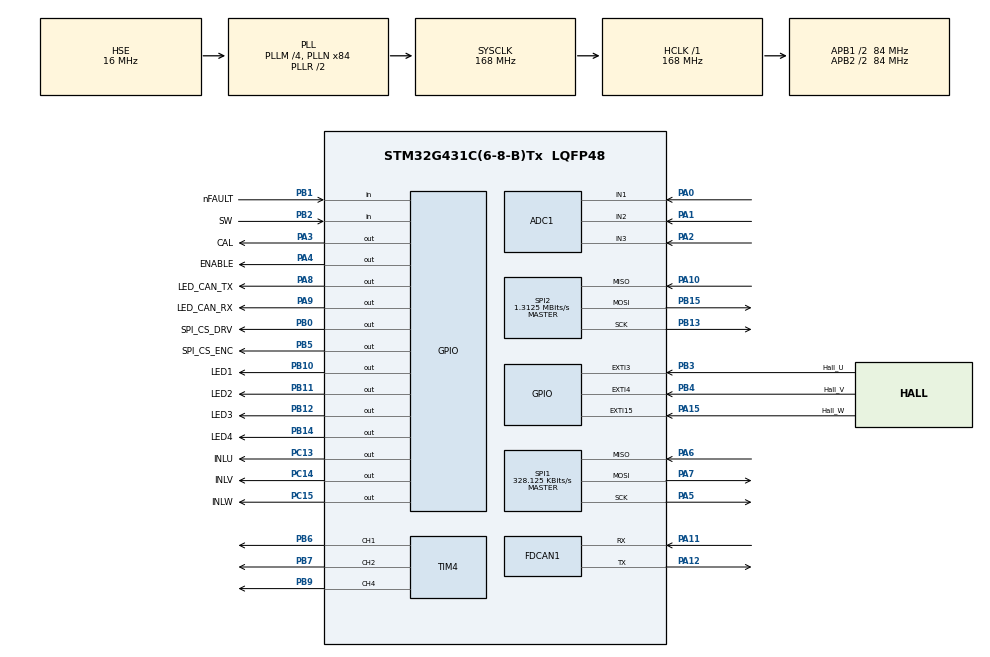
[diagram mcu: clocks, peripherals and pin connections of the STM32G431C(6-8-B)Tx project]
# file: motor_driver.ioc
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ADC1.ClockPrescaler=ADC_CLOCK_SYNC_PCLK_DIV4
ADC1.ContinuousConvMode=DISABLE
ADC1.DMAContinuousRequests=DISABLE
ADC1.DiscontinuousConvMode=DISABLE
ADC1.EOCSelection=ADC_EOC_SINGLE_CONV
ADC1.EnableInjectedConversion=ENABLE
ADC1.EnableRegularConversion=DISABLE
ADC1.ExternalTrigInjecConv=ADC_EXTERNALTRIGINJEC_T4_TRGO
ADC1.ExternalTrigInjecConvEdge=ADC_EXTERNALTRIGINJECCONV_EDGE_FALLING
ADC1.InjNumberOfConversion=3
ADC1.InjectedChannel-11\#ChannelInjectedConversion=ADC_CHANNEL_1
ADC1.InjectedChannel-12\#ChannelInjectedConversion=ADC_CHANNEL_2
ADC1.InjectedChannel-13\#ChannelInjectedConversion=ADC_CHANNEL_3
ADC1.InjectedConvMode=None
ADC1.InjectedOffsetNumber-11\#ChannelInjectedConversion=ADC_OFFSET_NONE
ADC1.InjectedOffsetNumber-12\#ChannelInjectedConversion=ADC_OFFSET_NONE
ADC1.InjectedOffsetNumber-13\#ChannelInjectedConversion=ADC_OFFSET_NONE
ADC1.InjectedRank-11\#ChannelInjectedConversion=1
ADC1.InjectedRank-12\#ChannelInjectedConversion=2
ADC1.InjectedRank-13\#ChannelInjectedConversion=3
ADC1.InjectedSamplingTime-11\#ChannelInjectedConversion=ADC_SAMPLETIME_6CYCLES_5
ADC1.InjectedSamplingTime-12\#ChannelInjectedConversion=ADC_SAMPLETIME_6CYCLES_5
ADC1.InjectedSamplingTime-13\#ChannelInjectedConversion=ADC_SAMPLETIME_6CYCLES_5
ADC1.Overrun=ADC_OVR_DATA_PRESERVED
ADC1.OversamplingMode=DISABLE
ADC1.Rank1_Channel=ADC_CHANNEL_1
ADC1.Rank2_Channel=ADC_CHANNEL_2
ADC1.Rank3_Channel=ADC_CHANNEL_3
ADC1.master=1
FDCAN1.CalculateBaudRateNominal=500000
FDCAN1.CalculateTimeBitNominal=2000
FDCAN1.CalculateTimeQuantumNominal=142.85714285714286
FDCAN1.DataPrescaler=12
FDCAN1.DataTimeSeg1=11
FDCAN1.DataTimeSeg2=2
FDCAN1.FrameFormat=FDCAN_FRAME_CLASSIC
FDCAN1.Mode=FDCAN_MODE_NORMAL
FDCAN1.NominalPrescaler=12
FDCAN1.NominalTimeSeg1=11
FDCAN1.StdFiltersNbr=1
FREERTOS.Tasks01=defaultTask,0,128,StartDefaultTask,Default,NULL,Dynamic,NULL,NULL;LEDTask,0,128,StartLEDTask,Default,NULL,Dynamic,NULL,NULL
Mcu.Family=STM32G4
Mcu.Name=STM32G431C(6-8-B)Tx
Mcu.Package=LQFP48
NVIC.ADC1_2_IRQn=true\:5\:0\:false\:false\:true\:true\:true\:true\:true
NVIC.EXTI15_10_IRQn=true\:5\:0\:false\:false\:true\:true\:true\:true\:true
NVIC.EXTI3_IRQn=true\:5\:0\:false\:false\:true\:true\:true\:true\:true
NVIC.EXTI4_IRQn=true\:5\:0\:false\:false\:true\:true\:true\:true\:true
NVIC.FDCAN1_IT0_IRQn=true\:5\:0\:false\:false\:true\:true\:true\:true\:true
NVIC.PriorityGroup=NVIC_PRIORITYGROUP_4
NVIC.SPI2_IRQn=true\:5\:0\:true\:false\:true\:false\:true\:true\:true
NVIC.TIM1_UP_TIM16_IRQn=true\:5\:0\:false\:false\:true\:true\:true\:true\:true
NVIC.TIM2_IRQn=true\:15\:0\:false\:false\:true\:false\:false\:true\:true
NVIC.TIM3_IRQn=true\:5\:0\:false\:false\:true\:true\:true\:true\:true
NVIC.TIM4_IRQn=true\:5\:0\:false\:false\:true\:true\:true\:true\:true
NVIC.TimeBase=TIM2_IRQn
NVIC.TimeBaseIP=TIM2
PA0.GPIO_PuPd=GPIO_NOPULL
PA0.Mode=IN1-Single-Ended
PA0.Signal=ADC1_IN1
PA1.Mode=IN2-Single-Ended
PA1.Signal=ADC1_IN2
PA10.Mode=Full_Duplex_Master
PA10.Signal=SPI2_MISO
PA11.Mode=FDCAN_Activate
PA11.Signal=FDCAN1_RX
PA12.Mode=FDCAN_Activate
PA12.Signal=FDCAN1_TX
PA13.Mode=Serial_Wire
PA13.Signal=SYS_JTMS-SWDIO
PA14.Mode=Serial_Wire
PA14.Signal=SYS_JTCK-SWCLK
PA15.GPIO_Label=Hall_W
PA15.GPIO_ModeDefaultEXTI=GPIO_MODE_IT_RISING_FALLING
PA15.Signal=GPXTI15
PA2.Mode=IN3-Single-Ended
PA2.Signal=ADC1_IN3
PA3.GPIO_Label=CAL
PA3.Signal=GPIO_Output
PA4.GPIO_Label=ENABLE
PA4.Signal=GPIO_Output
PA5.Mode=Full_Duplex_Master
PA5.Signal=SPI1_SCK
PA6.GPIO_PuPd=GPIO_PULLUP
PA6.Mode=Full_Duplex_Master
PA6.Signal=SPI1_MISO
PA7.Mode=Full_Duplex_Master
PA7.Signal=SPI1_MOSI
PA8.GPIO_Label=LED_CAN_TX
PA8.Signal=GPIO_Output
PA9.GPIO_Label=LED_CAN_RX
PA9.Signal=GPIO_Output
PB0.GPIO_Label=SPI_CS_DRV
PB0.Signal=GPIO_Output
PB1.GPIO_Label=nFAULT
PB1.GPIO_PuPd=GPIO_PULLUP
PB1.Signal=GPIO_Input
PB10.GPIO_Label=LED1
PB10.Signal=GPIO_Output
PB11.GPIO_Label=LED2
PB11.Signal=GPIO_Output
PB12.GPIO_Label=LED3
PB12.Signal=GPIO_Output
PB13.Mode=Full_Duplex_Master
PB13.Signal=SPI2_SCK
PB14.GPIO_Label=LED4
PB14.Signal=GPIO_Output
PB15.Mode=Full_Duplex_Master
PB15.Signal=SPI2_MOSI
PB2.GPIO_Label=SW
PB2.Signal=GPIO_Input
PB3.GPIO_Label=Hall_U
PB3.GPIO_ModeDefaultEXTI=GPIO_MODE_IT_RISING_FALLING
PB3.Signal=GPXTI3
PB4.GPIO_Label=Hall_V
PB4.GPIO_ModeDefaultEXTI=GPIO_MODE_IT_RISING_FALLING
PB4.Signal=GPXTI4
PB5.GPIO_Label=SPI_CS_ENC
PB5.GPIO_PuPd=GPIO_PULLUP
PB5.Signal=GPIO_Output
PB6.Signal=S_TIM4_CH1
PB7.Signal=S_TIM4_CH2
PB9.Signal=S_TIM4_CH4
PC13.GPIO_Label=INLU
PC13.Signal=GPIO_Output
PC14-OSC32_IN.GPIO_Label=INLV
PC14-OSC32_IN.Signal=GPIO_Output
PC15-OSC32_OUT.GPIO_Label=INLW
PC15-OSC32_OUT.GPIO_PuPd=GPIO_NOPULL
PC15-OSC32_OUT.Signal=GPIO_Output
PF0-OSC_IN.Mode=HSE-External-Oscillator
PF0-OSC_IN.Signal=RCC_OSC_IN
PF1-OSC_OUT.Mode=HSE-External-Oscillator
PF1-OSC_OUT.Signal=RCC_OSC_OUT
ProjectManager.HeapSize=0x200
ProjectManager.StackSize=0x400
ProjectManager.TargetToolchain=Makefile
RCC.ADC12Freq_Value=168000000
RCC.AHBFreq_Value=168000000
RCC.APB1CLKDivider=RCC_HCLK_DIV2
RCC.APB1Freq_Value=84000000
RCC.APB1TimFreq_Value=168000000
RCC.APB2CLKDivider=RCC_HCLK_DIV2
RCC.APB2Freq_Value=84000000
RCC.APB2TimFreq_Value=168000000
RCC.CortexFreq_Value=168000000
RCC.EXTERNAL_CLOCK_VALUE=12288000
RCC.HCLKFreq_Value=168000000
RCC.HSE_VALUE=16000000
RCC.HSI48_VALUE=48000000
RCC.HSI_VALUE=16000000
RCC.LSE_VALUE=32768
RCC.PLLM=RCC_PLLM_DIV4
RCC.PLLN=84
RCC.PLLSourceVirtual=RCC_PLLSOURCE_HSE
RCC.SYSCLKFreq_VALUE=168000000
RCC.SYSCLKSource=RCC_SYSCLKSOURCE_PLLCLK
RCC.USBFreq_Value=168000000
RCC.VCOOutputFreq_Value=336000000
SH.S_TIM4_CH1.0=TIM4_CH1,PWM Generation1 CH1
SH.S_TIM4_CH2.0=TIM4_CH2,PWM Generation2 CH2
SH.S_TIM4_CH4.0=TIM4_CH4,PWM Generation4 CH4
SPI1.BaudRatePrescaler=SPI_BAUDRATEPRESCALER_256
SPI1.CLKPhase=SPI_PHASE_2EDGE
SPI1.CLKPolarity=SPI_POLARITY_LOW
SPI1.CRCCalculation=SPI_CRCCALCULATION_DISABLE
SPI1.CalculateBaudRate=328.125 KBits/s
SPI1.DataSize=SPI_DATASIZE_8BIT
SPI1.Direction=SPI_DIRECTION_2LINES
SPI1.Mode=SPI_MODE_MASTER
SPI1.VirtualType=VM_MASTER
SPI2.BaudRatePrescaler=SPI_BAUDRATEPRESCALER_64
SPI2.CLKPhase=SPI_PHASE_2EDGE
SPI2.CLKPolarity=SPI_POLARITY_HIGH
SPI2.CalculateBaudRate=1.3125 MBits/s
SPI2.DataSize=SPI_DATASIZE_8BIT
SPI2.Direction=SPI_DIRECTION_2LINES
SPI2.Mode=SPI_MODE_MASTER
SPI2.VirtualType=VM_MASTER
TIM1.CounterMode=TIM_COUNTERMODE_UP
TIM1.PeriodNoDither=1000-1
TIM1.Prescaler=168-1
TIM1.TIM_MasterOutputTrigger=TIM_TRGO_UPDATE
TIM1.TIM_MasterOutputTrigger2=TIM_TRGO2_RESET
TIM3.PeriodNoDither=(PWM_PERIOD_CYCLES-1)
TIM3.Prescaler=(TIM_CLOCK_DIVIDER-1)
TIM3.TIM_MasterOutputTrigger=TIM_TRGO_UPDATE
TIM4.Channel-Output\ Compare3\ No\ Output=TIM_CHANNEL_3
TIM4.Channel-PWM\ Generation1\ CH1=TIM_CHANNEL_1
TIM4.Channel-PWM\ Generation2\ CH2=TIM_CHANNEL_2
TIM4.Channel-PWM\ Generation4\ CH4=TIM_CHANNEL_4
TIM4.PeriodNoDither=(PWM_PERIOD_CYCLES-1)
TIM4.Prescaler=(TIM_CLOCK_DIVIDER-1)
TIM4.TIM_MasterOutputTrigger=TIM_TRGO_UPDATE
VP_FREERTOS_VS_CMSIS_V1.Mode=CMSIS_V1
VP_SYS_VS_DBSignals.Mode=DisableDeadBatterySignals
VP_SYS_VS_tim2.Mode=TIM2
VP_TIM1_VS_ClockSourceINT.Mode=Internal
VP_TIM3_VS_ClockSourceINT.Mode=Internal
VP_TIM4_VS_no_output3.Mode=Output Compare3 No Output
board=custom

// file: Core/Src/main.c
/* USER CODE BEGIN Header */
/**
 ******************************************************************************
 * @file           : main.c
 * @brief          : Main program body
 ******************************************************************************
 * @attention
 *
 * Copyright (c) 2023 STMicroelectronics.
 * All rights reserved.
 *
 * This software is licensed under terms that can be found in the LICENSE file
 * in the root directory of this software component.
 * If no LICENSE file comes with this software, it is provided AS-IS.
 *
 ******************************************************************************
 */
/* USER CODE END Header */
#include "main.h"
#include "cmsis_os.h"
#include "adc.h"
#include "fdcan.h"
#include "spi.h"
#include "tim.h"
#include "gpio.h"

/* USER CODE BEGIN Includes */
#include "main_exec.h"
/* USER CODE END Includes */

void SystemClock_Config(void);
void MX_FREERTOS_Init(void);

int main(void)
{

  /* MCU Configuration--------------------------------------------------------*/

  /* Reset of all peripherals, Initializes the Flash interface and the Systick. */
  HAL_Init();

  /* Configure the system clock */
  SystemClock_Config();

  /* Initialize all configured peripherals */
  MX_GPIO_Init();
  MX_ADC1_Init();
  MX_FDCAN1_Init();
  MX_SPI1_Init();
  MX_TIM4_Init();
  MX_TIM1_Init();
  MX_SPI2_Init();
  MX_TIM3_Init();
  /* USER CODE BEGIN 2 */
  SEGGER_RTT_Init();
  setbuf(stdout, NULL);
  HAL_TIM_PWM_Start(&htim4, TIM_CHANNEL_1);
  HAL_TIM_PWM_Start(&htim4, TIM_CHANNEL_2);
  HAL_TIM_PWM_Start(&htim4, TIM_CHANNEL_4);

  Write_GPIO(LED_YELLOW, GPIO_PIN_SET);
  // HAL_ADCEx_Calibration_Start(&hadc1, ADC_SINGLE_ENDED);
  HAL_ADCEx_InjectedStart_IT(&hadc1);
  // __HAL_SPI_ENABLE_IT(&hspi2, SPI_IT_TXE | SPI_IT_RXNE);
  HAL_Delay(10);
  InitializeDriver();

  HAL_TIM_Base_Start_IT(&htim1);
  HAL_TIM_Base_Start_IT(&htim3);
  Write_GPIO(LED_YELLOW, GPIO_PIN_RESET);
  /* USER CODE END 2 */

  /* Call init function for freertos objects (in cmsis_os2.c) */
  MX_FREERTOS_Init();

  /* Start scheduler */
  osKernelStart();

  /* We should never get here as control is now taken by the scheduler */

  /* Infinite loop */
  while (1)
  {

  }
}

void SystemClock_Config(void)
{
  RCC_OscInitTypeDef RCC_OscInitStruct = {0};
  RCC_ClkInitTypeDef RCC_ClkInitStruct = {0};

  /** Configure the main internal regulator output voltage
  */
  HAL_PWREx_ControlVoltageScaling(PWR_REGULATOR_VOLTAGE_SCALE1_BOOST);

  /** Initializes the RCC Oscillators according to the specified parameters
  * in the RCC_OscInitTypeDef structure.
  */
  RCC_OscInitStruct.OscillatorType = RCC_OSCILLATORTYPE_HSE;
  RCC_OscInitStruct.HSEState = RCC_HSE_ON;
  RCC_OscInitStruct.PLL.PLLState = RCC_PLL_ON;
  RCC_OscInitStruct.PLL.PLLSource = RCC_PLLSOURCE_HSE;
  RCC_OscInitStruct.PLL.PLLM = RCC_PLLM_DIV4;
  RCC_OscInitStruct.PLL.PLLN = 84;
  RCC_OscInitStruct.PLL.PLLP = RCC_PLLP_DIV2;
  RCC_OscInitStruct.PLL.PLLQ = RCC_PLLQ_DIV2;
  RCC_OscInitStruct.PLL.PLLR = RCC_PLLR_DIV2;
  if (HAL_RCC_OscConfig(&RCC_OscInitStruct) != HAL_OK)
  {
    Error_Handler();
  }

  /** Initializes the CPU, AHB and APB buses clocks
  */
  RCC_ClkInitStruct.ClockType = RCC_CLOCKTYPE_HCLK|RCC_CLOCKTYPE_SYSCLK
                              |RCC_CLOCKTYPE_PCLK1|RCC_CLOCKTYPE_PCLK2;
  RCC_ClkInitStruct.SYSCLKSource = RCC_SYSCLKSOURCE_PLLCLK;
  RCC_ClkInitStruct.AHBCLKDivider = RCC_SYSCLK_DIV1;
  RCC_ClkInitStruct.APB1CLKDivider = RCC_HCLK_DIV2;
  RCC_ClkInitStruct.APB2CLKDivider = RCC_HCLK_DIV2;

  if (HAL_RCC_ClockConfig(&RCC_ClkInitStruct, FLASH_LATENCY_4) != HAL_OK)
  {
    Error_Handler();
  }
}

/* USER CODE BEGIN 4 */
int cnt1kHz = 0;
int cnt30kHz = 0;
/* USER CODE END 4 */

void HAL_TIM_PeriodElapsedCallback(TIM_HandleTypeDef *htim)
{
  if (htim->Instance == TIM2) {
    HAL_IncTick();
  }
  /* USER CODE BEGIN Callback 1 */
  if (htim->Instance == TIM1)
  {
    cnt1kHz = (cnt1kHz + 1) % 1000;
    TimUpdate();

    // if (cnt1kHz == 0)
    //   Toggle_GPIO(LED_WHITE);

    if (cnt1kHz % 200 == 0)
      PrintLog();
  }
  else if (htim->Instance == TIM3)
  {
    cnt30kHz = (cnt30kHz + 1) % 30000;
    // ADCCpltCallback();

    // if (cnt30kHz == 0)
    //   Toggle_GPIO(LED_WHITE);
  }

  /* USER CODE END Callback 1 */
}

void Error_Handler(void)
{
  __disable_irq();
  while (1)
  {
  }
}

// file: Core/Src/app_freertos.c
/* USER CODE BEGIN Header */
/**
 ******************************************************************************
 * File Name          : app_freertos.c
 * Description        : Code for freertos applications
 ******************************************************************************
 * @attention
 *
 * Copyright (c) 2023 STMicroelectronics.
 * All rights reserved.
 *
 * This software is licensed under terms that can be found in the LICENSE file
 * in the root directory of this software component.
 * If no LICENSE file comes with this software, it is provided AS-IS.
 *
 ******************************************************************************
 */
/* USER CODE END Header */

#include "FreeRTOS.h"
#include "task.h"
#include "main.h"
#include "cmsis_os.h"

/* USER CODE BEGIN Includes */
#include "main_exec.h"
/* USER CODE END Includes */

osThreadId defaultTaskHandle;
osThreadId LEDTaskHandle;

void StartDefaultTask(void const * argument);
void StartLEDTask(void const * argument);

void MX_FREERTOS_Init(void); /* (MISRA C 2004 rule 8.1) */

void MX_FREERTOS_Init(void) {

  /* Create the thread(s) */
  /* definition and creation of defaultTask */
  osThreadDef(defaultTask, StartDefaultTask, osPriorityNormal, 0, 128);
  defaultTaskHandle = osThreadCreate(osThread(defaultTask), NULL);

  /* definition and creation of LEDTask */
  osThreadDef(LEDTask, StartLEDTask, osPriorityNormal, 0, 128);
  LEDTaskHandle = osThreadCreate(osThread(LEDTask), NULL);

}

void StartDefaultTask(void const * argument)
{
  for (;;)
  {
  }
}

void StartLEDTask(void const * argument)
{
  /* USER CODE BEGIN StartLEDTask */
  /* Infinite loop */
  for (;;)
  {
    ActivateTxLED();
    ResetTxLED();
    osDelay(100);
    SetTxLED(GPIO_PIN_RESET);

    ActivateRxLED();
    ResetRxLED();
    osDelay(100);
    SetRxLED(GPIO_PIN_RESET);
  }
  /* USER CODE END StartLEDTask */
}
